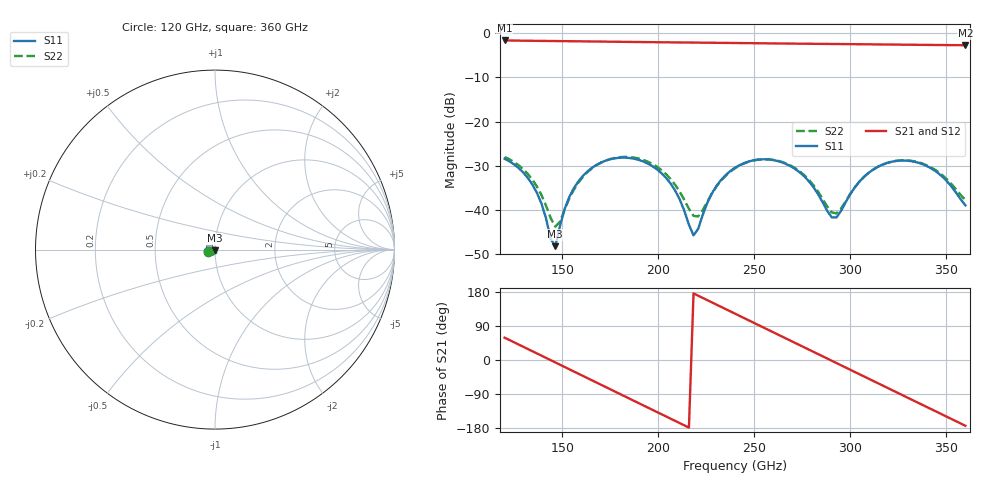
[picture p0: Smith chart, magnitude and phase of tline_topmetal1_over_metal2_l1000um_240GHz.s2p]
#  GHZ S DB R 50
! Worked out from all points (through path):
!   101 points, 120 GHz to 360 GHz, reference 50 ohm
!   highest |S21| = -1.62 dB at 120 GHz (marker M1); lowest = -2.7 dB at 360 GHz (marker M2)
!   group delay of S21, straight-line fit = 6.86 ps
!   lowest |S11| = -48.2 dB at 146.4 GHz (marker M3), VSWR 1.01, Z = 49.8 - j0.298 ohm
!   |S11| at or under -10 dB: start of sweep to end of sweep
!   |S22| runs from -43.8 to -28.0 dB; largest |S21 - S12| = 9.1e-14
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120  -28.40 -166.2  -1.62 58.9  -1.62 58.9  -28.01 -164.3
134.4  -34.18 162.5  -1.70 23.3  -1.70 23.3  -33.10 167.9
146.4  -48.18 -129.7  -1.76 -6.4  -1.76 -6.4  -43.76 -154.4
153.6  -37.14 -91.9  -1.79 -24.2  -1.79 -24.2  -37.47 -104.6
160.8  -32.27 -103.0  -1.83 -42.0  -1.83 -42.0  -32.50 -108.8
180  -28.17 -145.7  -1.93 -89.5  -1.93 -89.5  -28.04 -146.2
189.6  -28.63 -167.5  -1.98 -113.2  -1.98 -113.2  -28.33 -166.4
201.6  -31.61 167.5  -2.03 -142.8  -2.03 -142.8  -30.94 171.1
211.2  -37.59 156.3  -2.07 -166.5  -2.07 -166.5  -35.86 163.2
218.4  -45.73 -160.3  -2.10 175.7  -2.10 175.7  -41.32 -169.6
220.8  -44.28 -126.6  -2.11 169.8  -2.11 169.8  -41.47 -148.5
228  -36.22 -105.6  -2.15 152.0  -2.15 152.0  -36.22 -118.6
240  -30.44 -123.8  -2.20 122.3  -2.20 122.3  -30.55 -129.1
259.2  -28.64 -163.4  -2.29 75.0  -2.29 75.0  -28.60 -165.3
271.2  -30.67 173.6  -2.34 45.4  -2.34 45.4  -30.50 173.1
280.8  -34.78 162.2  -2.38 21.7  -2.38 21.7  -34.36 162.8
292.8  -41.70 -148.1  -2.43 -7.9  -2.43 -7.9  -40.77 -153.9
307.2  -32.48 -122.7  -2.49 -43.4  -2.49 -43.4  -32.49 -125.6
321.6  -29.08 -146.5  -2.55 -78.9  -2.55 -78.9  -29.05 -147.7
338.4  -29.75 -177.3  -2.62 -120.3  -2.62 -120.3  -29.60 -177.2
348  -32.45 169.7  -2.66 -144.0  -2.66 -144.0  -32.12 170.7
360  -38.94 -175.0  -2.70 -173.5  -2.70 -173.5  -37.74 -176.3
